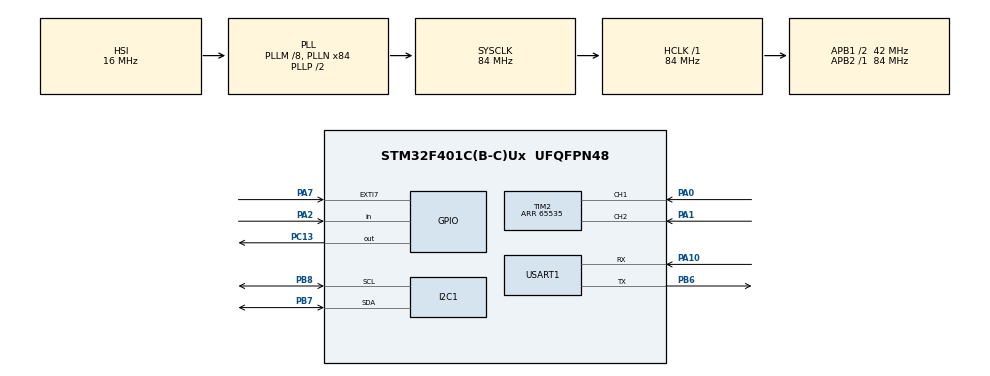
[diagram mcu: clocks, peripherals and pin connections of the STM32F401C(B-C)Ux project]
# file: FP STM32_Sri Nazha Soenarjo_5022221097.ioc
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Dma.Request0=USART1_TX
Dma.USART1_TX.0.Direction=DMA_MEMORY_TO_PERIPH
Dma.USART1_TX.0.FIFOMode=DMA_FIFOMODE_DISABLE
Dma.USART1_TX.0.Instance=DMA2_Stream7
Dma.USART1_TX.0.MemDataAlignment=DMA_MDATAALIGN_BYTE
Dma.USART1_TX.0.MemInc=DMA_MINC_ENABLE
Dma.USART1_TX.0.Mode=DMA_NORMAL
Dma.USART1_TX.0.PeriphDataAlignment=DMA_PDATAALIGN_BYTE
Dma.USART1_TX.0.PeriphInc=DMA_PINC_DISABLE
Dma.USART1_TX.0.Priority=DMA_PRIORITY_LOW
Mcu.Family=STM32F4
Mcu.Name=STM32F401C(B-C)Ux
Mcu.Package=UFQFPN48
NVIC.DMA2_Stream7_IRQn=true\:0\:0\:false\:false\:true\:false\:true\:true
NVIC.EXTI9_5_IRQn=true\:0\:0\:false\:false\:true\:true\:true\:true
NVIC.PriorityGroup=NVIC_PRIORITYGROUP_4
NVIC.TIM2_IRQn=true\:0\:0\:false\:false\:true\:true\:true\:true
NVIC.USART1_IRQn=true\:0\:0\:false\:false\:true\:true\:true\:true
PA0-WKUP.Signal=S_TIM2_CH1_ETR
PA1.Signal=S_TIM2_CH2
PA10.Mode=Asynchronous
PA10.Signal=USART1_RX
PA13.Mode=Trace_Asynchronous_SW
PA13.Signal=SYS_JTMS-SWDIO
PA14.Mode=Trace_Asynchronous_SW
PA14.Signal=SYS_JTCK-SWCLK
PA2.Signal=GPIO_Input
PA7.GPIO_PuPd=GPIO_PULLUP
PA7.Signal=GPXTI7
PB3.Mode=Trace_Asynchronous_SW
PB3.Signal=SYS_JTDO-SWO
PB6.Mode=Asynchronous
PB6.Signal=USART1_TX
PB7.Mode=I2C
PB7.Signal=I2C1_SDA
PB8.Mode=I2C
PB8.Signal=I2C1_SCL
PC13-ANTI_TAMP.Signal=GPIO_Output
PH0\ -\ OSC_IN.Mode=HSE-External-Oscillator
PH0\ -\ OSC_IN.Signal=RCC_OSC_IN
PH1\ -\ OSC_OUT.Mode=HSE-External-Oscillator
PH1\ -\ OSC_OUT.Signal=RCC_OSC_OUT
ProjectManager.HeapSize=0x200
ProjectManager.StackSize=0x400
ProjectManager.TargetToolchain=STM32CubeIDE
RCC.48MHZClocksFreq_Value=42000000
RCC.AHBFreq_Value=84000000
RCC.APB1CLKDivider=RCC_HCLK_DIV2
RCC.APB1Freq_Value=42000000
RCC.APB1TimFreq_Value=84000000
RCC.APB2Freq_Value=84000000
RCC.APB2TimFreq_Value=84000000
RCC.CortexFreq_Value=84000000
RCC.HCLKFreq_Value=84000000
RCC.HSE_VALUE=25000000
RCC.HSI_VALUE=16000000
RCC.LSE_VALUE=32768
RCC.PLLM=8
RCC.PLLN=84
RCC.SYSCLKFreq_VALUE=84000000
RCC.SYSCLKSource=RCC_SYSCLKSOURCE_PLLCLK
RCC.VCOOutputFreq_Value=168000000
SH.S_TIM2_CH1_ETR.0=TIM2_CH1,Encoder_Interface
SH.S_TIM2_CH2.0=TIM2_CH2,Encoder_Interface
TIM2.Period=65535
USART1.VirtualMode=VM_ASYNC
board=custom

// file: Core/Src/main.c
/* USER CODE BEGIN Header */
/**
  ******************************************************************************
  * @file           : main.c
  * @brief          : Main program body
  ******************************************************************************
  * @attention
  *
  * Copyright (c) 2024 STMicroelectronics.
  * All rights reserved.
  *
  * This software is licensed under terms that can be found in the LICENSE file
  * in the root directory of this software component.
  * If no LICENSE file comes with this software, it is provided AS-IS.
  *
  ******************************************************************************
  */
/* USER CODE END Header */
#include "main.h"
#include "dma.h"
#include "i2c.h"
#include "tim.h"
#include "usart.h"
#include "gpio.h"

/* USER CODE BEGIN Includes */
#include <string.h>
#include <stdio.h>
#include <stdlib.h>
#include "si5351.h"
/* USER CODE END Includes */

/* USER CODE BEGIN PV */
uint32_t timer = 0, timerKirim = 0;
int16_t encoder;
uint8_t data[15];
/* USER CODE END PV */

void SystemClock_Config(void);

/* USER CODE BEGIN 0 */
int freq=8000;
int counter = 0;

/*void HAL_TIM_IC_CaptureCallback(TIM_HandleTypeDef *htim)
{
	counter = __HAL_TIM_GET_COUNTER(htim);

}*/
uint8_t state;

void HAL_GPIO_EXTI_Callback(uint16_t GPIO_Pin)
{
	state = state + 1;
	if(state > 1){
		state = 0;
	}
}

/* USER CODE END 0 */

int main(void)
{

  /* MCU Configuration--------------------------------------------------------*/

  /* Reset of all peripherals, Initializes the Flash interface and the Systick. */
  HAL_Init();

  /* Configure the system clock */
  SystemClock_Config();

  /* Initialize all configured peripherals */
  MX_GPIO_Init();
  MX_DMA_Init();
  MX_I2C1_Init();
  MX_USART1_UART_Init();
  MX_TIM2_Init();
  /* USER CODE BEGIN 2 */
    char text[50];
    //char text2[50];
    int step;
    const int32_t correction = 978;
    si5351_Init(correction);
    HAL_TIM_Encoder_Start(&htim2, TIM_CHANNEL_ALL);
  /* USER CODE END 2 */

  /* Infinite loop */
  while (1)
  {
	  if(HAL_GetTick() - timer > 10)
	 	  	  {
	 	  		  timer = HAL_GetTick();
	 	  		  encoder = TIM2 -> CNT;
	 	  		  step = encoder * 50;
	 	  		  if(!HAL_GPIO_ReadPin(GPIOA, GPIO_PIN_2)){
	 	  			  freq=freq+step;
	 	  			  if(freq < 8000){
	 	  				  freq = 8000;
	 	  			  }
	 	  			  else if(freq > 160000000){
	 	  				  freq = 160000000;
	 	  			  }
	 	  		  }
	 	  //		  encoder = __HAL_TIM_GET_COUNTER(&htim3);
	 	  	  }
	 	  	  if(HAL_GetTick() - timerKirim > 1000)
	 	  	  {
	 	  		  timerKirim = HAL_GetTick();
	 	  		  //		  HAL_UART_Transmit(&huart1, &data, 1, HAL_MAX_DELAY);
	 	  	  }

	 	  	  sprintf(text,"Nilai frekuensi: %d Hz, inc/dec: %d \n\r",freq, step);
	 	  	  HAL_UART_Transmit_DMA(&huart1, (uint8_t*)text, sizeof(text));
	 	  	  si5351_SetupCLK0(freq, SI5351_DRIVE_STRENGTH_4MA);
	 	  	  if(state == 0){
	 	  		  si5351_EnableOutputs(0>>0);
	 	  	  }
	 	  	  else if(state == 1){
	 	  		  si5351_EnableOutputs(1>>0);
	 	  	  }
	 	  	  HAL_Delay(200);
  }
}

void SystemClock_Config(void)
{
  RCC_OscInitTypeDef RCC_OscInitStruct = {0};
  RCC_ClkInitTypeDef RCC_ClkInitStruct = {0};

  /** Configure the main internal regulator output voltage
  */
  __HAL_RCC_PWR_CLK_ENABLE();
  __HAL_PWR_VOLTAGESCALING_CONFIG(PWR_REGULATOR_VOLTAGE_SCALE2);

  /** Initializes the RCC Oscillators according to the specified parameters
  * in the RCC_OscInitTypeDef structure.
  */
  RCC_OscInitStruct.OscillatorType = RCC_OSCILLATORTYPE_HSI;
  RCC_OscInitStruct.HSIState = RCC_HSI_ON;
  RCC_OscInitStruct.HSICalibrationValue = RCC_HSICALIBRATION_DEFAULT;
  RCC_OscInitStruct.PLL.PLLState = RCC_PLL_ON;
  RCC_OscInitStruct.PLL.PLLSource = RCC_PLLSOURCE_HSI;
  RCC_OscInitStruct.PLL.PLLM = 8;
  RCC_OscInitStruct.PLL.PLLN = 84;
  RCC_OscInitStruct.PLL.PLLP = RCC_PLLP_DIV2;
  RCC_OscInitStruct.PLL.PLLQ = 4;
  if (HAL_RCC_OscConfig(&RCC_OscInitStruct) != HAL_OK)
  {
    Error_Handler();
  }

  /** Initializes the CPU, AHB and APB buses clocks
  */
  RCC_ClkInitStruct.ClockType = RCC_CLOCKTYPE_HCLK|RCC_CLOCKTYPE_SYSCLK
                              |RCC_CLOCKTYPE_PCLK1|RCC_CLOCKTYPE_PCLK2;
  RCC_ClkInitStruct.SYSCLKSource = RCC_SYSCLKSOURCE_PLLCLK;
  RCC_ClkInitStruct.AHBCLKDivider = RCC_SYSCLK_DIV1;
  RCC_ClkInitStruct.APB1CLKDivider = RCC_HCLK_DIV2;
  RCC_ClkInitStruct.APB2CLKDivider = RCC_HCLK_DIV1;

  if (HAL_RCC_ClockConfig(&RCC_ClkInitStruct, FLASH_LATENCY_2) != HAL_OK)
  {
    Error_Handler();
  }
}

void Error_Handler(void)
{
  __disable_irq();
  while (1)
  {
  }
}
